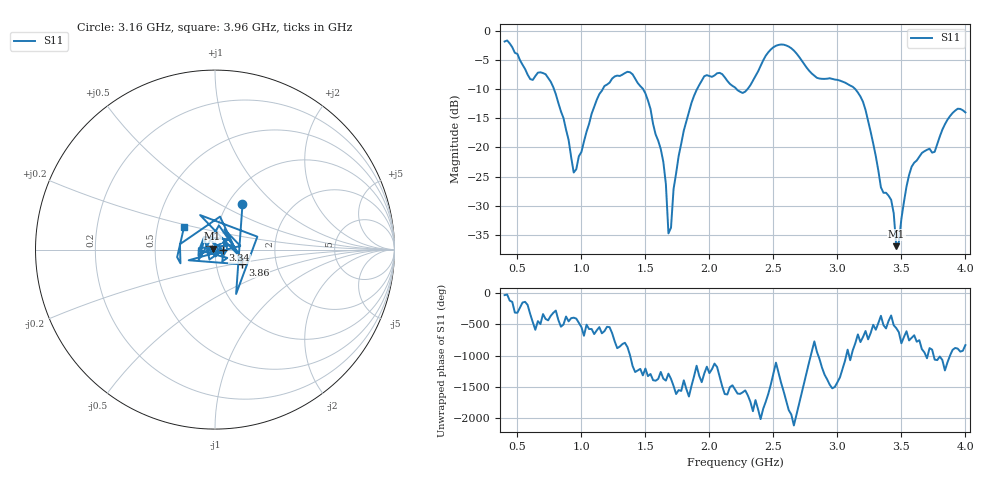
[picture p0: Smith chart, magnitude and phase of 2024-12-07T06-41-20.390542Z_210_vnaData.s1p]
!Created with skrf (http://scikit-rf.org).
# Hz S RI R 50.0
!freq ReS11 ImS11
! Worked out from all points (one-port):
!   181 points, 400 MHz to 4 GHz, reference 50 ohm
!   lowest |S11| = -36.9 dB at 3.46 GHz (marker M1), VSWR 1.03, Z = 48.7 + j0.489 ohm
!   |S11| at or under -10 dB: 786 MHz to 1.166 GHz (380.4 MHz wide, 39 % of centre); 1.482 GHz to 1.903 GHz (420.9 MHz wide, 24.9 % of centre); 3.14 GHz to end of sweep (the widest 3 of 4)
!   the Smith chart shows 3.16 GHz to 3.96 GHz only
!   S11 on the Smith chart (normalised r, x): 3.16 GHz: 1.17, +0.65; 3.34 GHz: 1.10, -0.01; 3.86 GHz: 1.34, -0.23; 3.96 GHz: 0.69, +0.18
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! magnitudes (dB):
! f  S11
! 400 MHz  -1.8
! 600 MHz  -8.3
! 720 MHz  -7.4
! 860 MHz  -15.0
! 940 MHz  -24.3
! 1.14 GHz  -10.8
! 1.3 GHz  -7.7
! 1.52 GHz  -11.9
! 1.64 GHz  -22.5
! 1.68 GHz  -34.7
! 1.7 GHz  -33.8
! 1.76 GHz  -21.4
! 1.96 GHz  -7.8
! 2.2 GHz  -9.7
! 2.28 GHz  -10.4
! 2.5 GHz  -2.8
! 2.66 GHz  -3.4
! 3.1 GHz  -9.4
! 3.16 GHz  -10.6
! 3.22 GHz  -13.6
! 3.34 GHz  -26.8
! 3.42 GHz  -29.0
! 3.46 GHz  -36.9
! 3.56 GHz  -24.7
! 3.76 GHz  -20.7
! 3.86 GHz  -15.2
! 3.96 GHz  -13.4
! 4 GHz  -14.0
